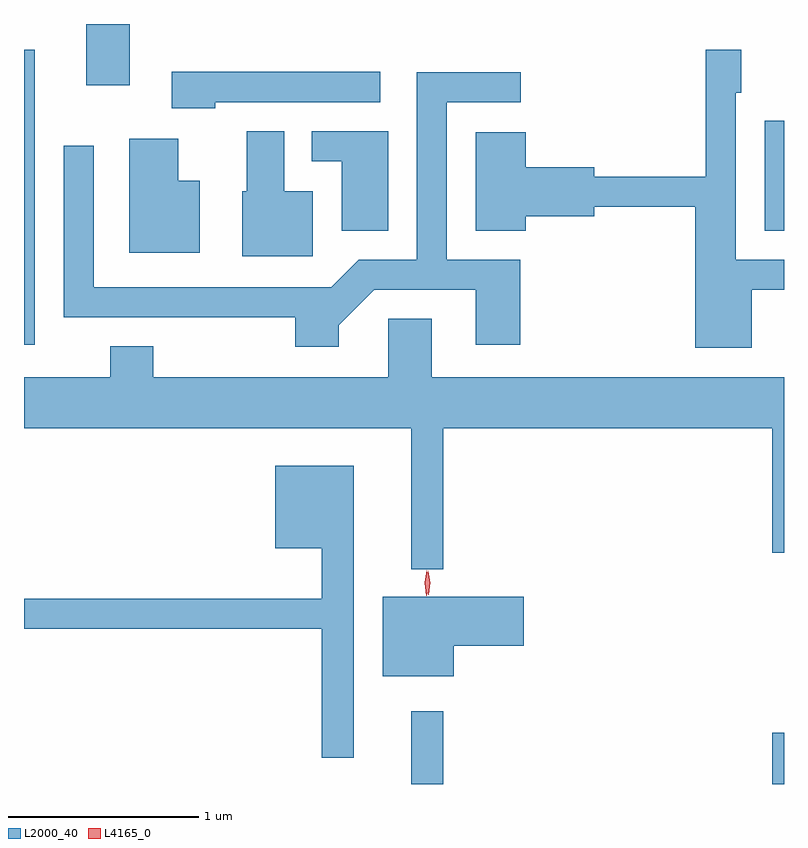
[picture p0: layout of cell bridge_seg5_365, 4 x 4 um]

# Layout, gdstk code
import gdstk
lib = gdstk.Library(unit=1e-6, precision=1e-09)
def R(c, l, rs):  # rectangles x0, y0, x1, y1
    for r in rs: c.add(gdstk.rectangle(r[:2], r[2:], *l))
def P(c, l, *ps):  # polygons
    for p in ps: c.add(gdstk.Polygon(p, *l))
L2000_40 = (2000, 40)
L4165_0 = (4165, 0)

bridge_seg5_365 = lib.new_cell('bridge_seg5_365')
R(bridge_seg5_365, L2000_40, [(460.211,1481.564,460.379,1481.948), (462.111,1481.564,462.173,1481.834), (458.173,1483.876,458.229,1485.429), (462.071,1484.476,462.173,1485.054), (458.501,1485.241,458.729,1485.564)])
P(bridge_seg5_365, L2000_40, [(462.004,1484.166),(462.173,1484.166),(462.173,1484.324),(461.919,1484.324),(461.919,1485.201),(461.949,1485.201),(461.949,1485.429),(461.761,1485.429),(461.761,1484.759),(461.174,1484.759),(461.174,1484.809),(460.814,1484.809),(460.814,1484.994),(460.551,1484.994),(460.551,1484.476),(460.814,1484.476),(460.814,1484.551),(461.174,1484.551),(461.174,1484.601),(461.706,1484.601),(461.706,1483.861),(462.004,1483.861)],
  [(459.179,1485.151),(460.048,1485.151),(460.048,1485.314),(458.951,1485.314),(458.951,1485.121),(459.179,1485.121)],
  [(459.829,1483.979),(460.017,1484.166),(460.551,1484.166),(460.551,1483.876),(460.784,1483.876),(460.784,1484.324),(460.399,1484.324),(460.399,1485.151),(460.788,1485.151),(460.788,1485.309),(460.241,1485.309),(460.241,1484.324),(459.934,1484.324),(459.789,1484.179),(458.539,1484.179),(458.539,1484.923),(458.381,1484.923),(458.381,1484.021),(459.601,1484.021),(459.601,1483.866),(459.829,1483.866)],
  [(459.694,1484.684),(459.544,1484.684),(459.544,1484.999),(459.346,1484.999),(459.346,1484.684),(459.321,1484.684),(459.321,1484.341),(459.694,1484.341)],
  [(460.089,1484.999),(459.688,1484.999),(459.688,1484.841),(459.846,1484.841),(459.846,1484.476),(460.089,1484.476)],
  [(459.099,1484.739),(458.984,1484.739),(458.984,1484.959),(458.726,1484.959),(458.726,1484.361),(459.099,1484.361)],
  [(460.379,1483.436),(462.111,1483.436),(462.111,1482.781),(462.173,1482.781),(462.173,1483.704),(460.319,1483.704),(460.319,1484.014),(460.091,1484.014),(460.091,1483.704),(458.854,1483.704),(458.854,1483.869),(458.626,1483.869),(458.626,1483.704),(458.173,1483.704),(458.173,1483.436),(460.211,1483.436),(460.211,1482.693),(460.379,1482.693)],
  [(459.909,1483.239),(459.496,1483.239),(459.496,1482.806),(459.741,1482.806),(459.741,1482.539),(458.173,1482.539),(458.173,1482.381),(459.741,1482.381),(459.741,1481.703),(459.909,1481.703)],
  [(460.434,1482.291),(460.804,1482.291),(460.804,1482.549),(460.061,1482.549),(460.061,1482.131),(460.434,1482.131)])
P(bridge_seg5_365, L4165_0, [(460.291,1482.554),(460.291,1482.554),(460.282,1482.622),(460.292,1482.69),(460.293,1482.69),(460.293,1482.69),(460.302,1482.622),(460.292,1482.554)],
  [(460.301,1482.56),(460.301,1482.56),(460.291,1482.623),(460.3,1482.686),(460.301,1482.687),(460.301,1482.686),(460.311,1482.623),(460.302,1482.56)])

lib.write_gds('bridge_seg5_365.gds')
